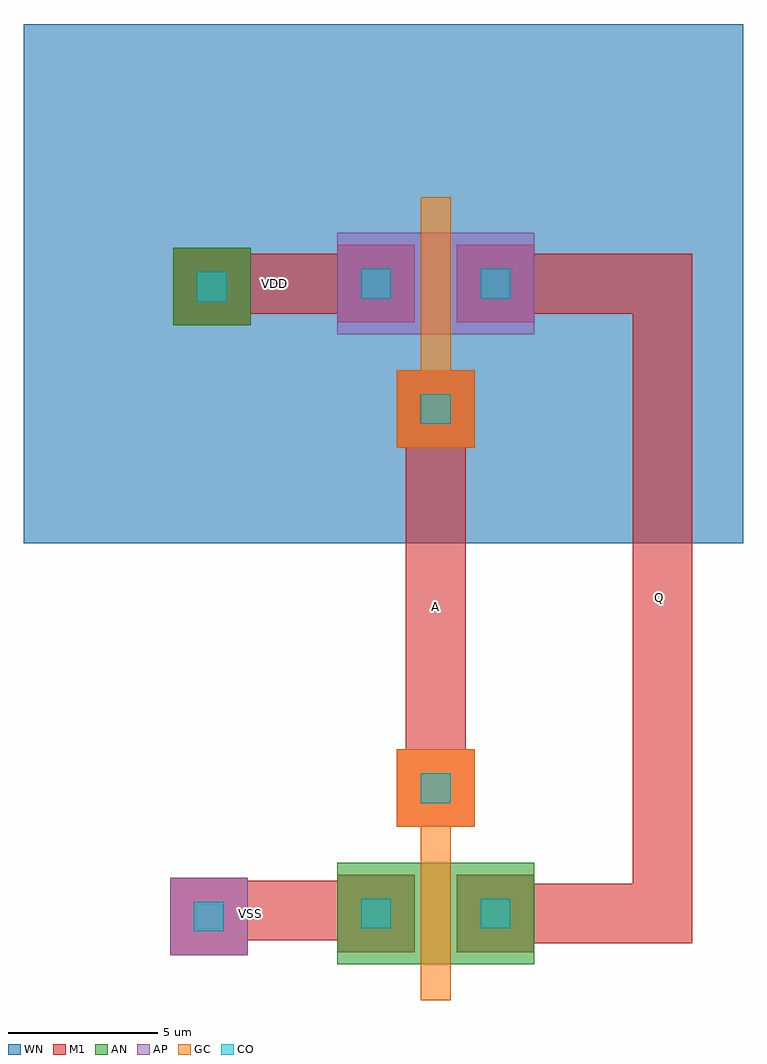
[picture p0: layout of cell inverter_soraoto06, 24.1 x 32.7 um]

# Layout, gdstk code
import gdstk
lib = gdstk.Library(unit=1e-6, precision=1e-07)
def R(c, l, rs):  # rectangles x0, y0, x1, y1
    for r in rs: c.add(gdstk.rectangle(r[:2], r[2:], *l))
AP = (3, 1)
AN = (3, 2)
GC = (8, 1)
CO = (11, 0)
M1 = (13, 0)
WN = (140, 0)

fet_n = lib.new_cell('fet_n')
R(fet_n, AN, [(-3.3,-1.7,3.3,1.7)])
R(fet_n, CO, [(-2.5,-0.5,-1.5,0.5), (1.5,-0.5,2.5,0.5)])
R(fet_n, M1, [(-3.3,-1.3,-0.7,1.3), (0.7,-1.3,3.3,1.3)])
fet_n.add(gdstk.FlexPath([(0,-2.9),(0,2.9)], 1, ends="flush", simple_path=True, layer=8, datatype=1))  # GC

cont_g = lib.new_cell('cont_g')
R(cont_g, GC, [(-1.3,-1.3,1.3,1.3)])
R(cont_g, CO, [(-0.5,-0.5,0.5,0.5)])
R(cont_g, M1, [(-1.3,-1.3,1.3,1.3)])

fet_p = lib.new_cell('fet_p')
R(fet_p, AP, [(-3.3,-1.7,3.3,1.7)])
R(fet_p, CO, [(-2.5,-0.5,-1.5,0.5), (1.5,-0.5,2.5,0.5)])
R(fet_p, M1, [(-3.3,-1.3,-0.7,1.3), (0.7,-1.3,3.3,1.3)])
fet_p.add(gdstk.FlexPath([(0,-2.9),(0,2.9)], 1, ends="flush", simple_path=True, layer=8, datatype=1))  # GC

cont_n = lib.new_cell('cont_n')
R(cont_n, AN, [(-1.3,-1.3,1.3,1.3)])
R(cont_n, CO, [(-0.5,-0.5,0.5,0.5)])
R(cont_n, M1, [(-1.3,-1.3,1.3,1.3)])

cont_p = lib.new_cell('cont_p')
R(cont_p, AP, [(-1.3,-1.3,1.3,1.3)])
R(cont_p, CO, [(-0.5,-0.5,0.5,0.5)])
R(cont_p, M1, [(-1.3,-1.3,1.3,1.3)])

inverter_soraoto06 = lib.new_cell('inverter_soraoto06')
R(inverter_soraoto06, WN, [(-15.1,2.6,9,20)])
inverter_soraoto06.add(gdstk.FlexPath([(-1.3,7.2),(-1.3,-5.6)], 2, ends="flush", simple_path=True, layer=13, datatype=0))  # M1
inverter_soraoto06.add(gdstk.FlexPath([(-3.2,11.3),(-8.8,11.3)], 2, ends="flush", simple_path=True, layer=13, datatype=0))  # M1
inverter_soraoto06.add(gdstk.FlexPath([(-3.2,-9.7),(-8.8,-9.7)], 2, ends="flush", simple_path=True, layer=13, datatype=0))  # M1
inverter_soraoto06.add(gdstk.FlexPath([(0.7,11.3),(6.3,11.3),(6.3,-9.8),(0.7,-9.8)], 2, ends="flush", simple_path=True, layer=13, datatype=0))  # M1
inverter_soraoto06.add(gdstk.Reference(fet_n, (-1.3,-9.8)))
inverter_soraoto06.add(gdstk.Reference(cont_g, (-1.3,7.1)))
inverter_soraoto06.add(gdstk.Reference(fet_p, (-1.3,11.3)))
inverter_soraoto06.add(gdstk.Reference(cont_g, (-1.3,-5.6)))
inverter_soraoto06.add(gdstk.Reference(cont_n, (-8.8,11.2)))
inverter_soraoto06.add(gdstk.Reference(cont_p, (-8.9,-9.9)))
inverter_soraoto06.add(gdstk.Label('VDD', (-6.7,11.3), layer=48, texttype=0))
inverter_soraoto06.add(gdstk.Label('Q', (6.2,0.8), layer=48, texttype=0))
inverter_soraoto06.add(gdstk.Label('A', (-1.3,0.5), layer=48, texttype=0))
inverter_soraoto06.add(gdstk.Label('VSS', (-7.5,-9.8), layer=48, texttype=0))

lib.write_gds('inverter_soraoto06.gds')
